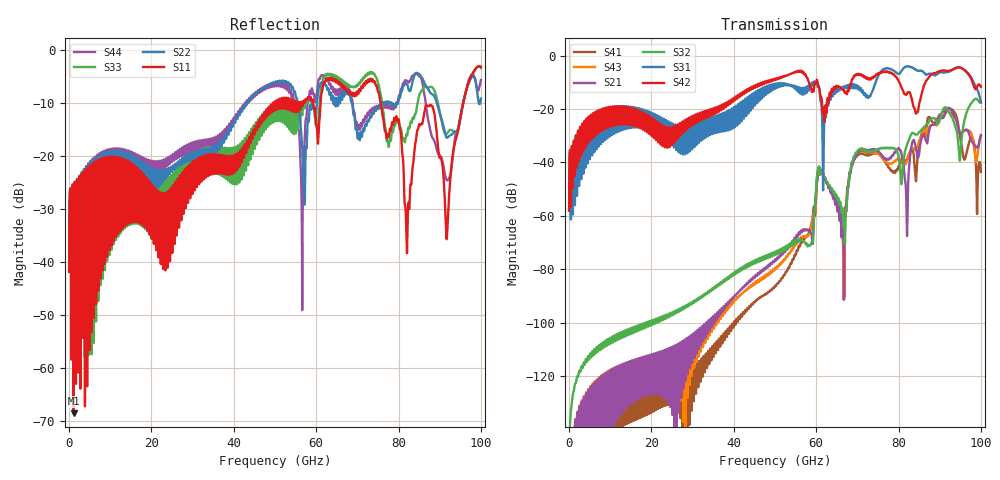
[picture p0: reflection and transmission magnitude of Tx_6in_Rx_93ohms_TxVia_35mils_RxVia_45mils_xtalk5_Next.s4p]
! Info: Touchstone file created by Circ.  Input file=Tx_6in_Rx_93ohms_TxVia_35mils_RxVia_45mils.circ
# Hz S RI R 50
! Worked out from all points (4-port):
!   10000 points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, 10 MHz to 100 GHz, reference 50 ohm
!   strongest paths, dB at 10 MHz, 25.01 GHz, 50.01 GHz, 75.01 GHz, 100 GHz:
!     S42: -58.1, -32.9, -9.2, -6.8, -11.7
!     S31: -58.0, -29.4, -12.3, -7.9, -17.3
!     S32: -162.2, -97.3, -73.6, -35.1, -17.7
!     S21: -175.5, -114.5, -76.3, -35.9, -29.8
!     S43: -175.4, -118.1, -79.7, -36.6, -30.2
!     S41: -180.8, -126.1, -86.3, -36.7, -43.6
!   lowest |S11| = -68.6 dB at 1.11 GHz (marker M1), VSWR 1.00, Z = 50 - j0.0353 ohm
!   |S11| at or under -10 dB: start of sweep to 49.53 GHz; 59.26 GHz to 61.07 GHz (1.806 GHz wide, 3 % of centre); 75.62 GHz to 95.73 GHz (20.11 GHz wide, 23.5 % of centre) (the widest 3 of 18)
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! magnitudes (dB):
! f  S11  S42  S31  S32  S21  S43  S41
! 10 MHz  -41.9  -58.1  -58.0  -162.2  -175.5  -175.4  -180.8
! 1.11 GHz  -68.6  -32.6  -32.7  -125.9  -141.0  -140.8  -146.6
! 58.31 GHz  -9.4  -10.3  -11.6  -71.2  -65.6  -66.8  -66.1
! 60.76 GHz  -13.6  -12.4  -12.4  -42.1  -41.8  -42.3  -42.2
! 66.54 GHz  -6.8  -13.0  -11.6  -62.1  -63.7  -72.8  -70.5
! 91.74 GHz  -35.5  -5.8  -6.3  -20.0  -19.8  -20.6  -20.6
! 100 GHz  -3.3  -11.7  -17.3  -17.7  -29.8  -30.2  -43.6
